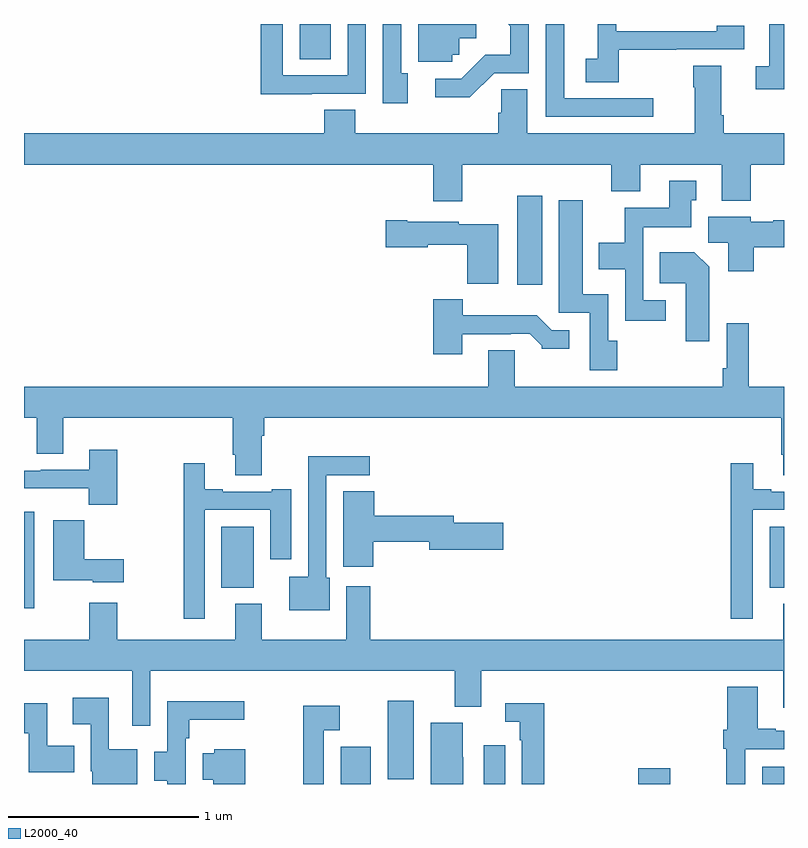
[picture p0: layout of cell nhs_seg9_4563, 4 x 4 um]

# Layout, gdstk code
import gdstk
lib = gdstk.Library(unit=1e-6, precision=1e-09)
def R(c, l, rs):  # rectangles x0, y0, x1, y1
    for r in rs: c.add(gdstk.rectangle(r[:2], r[2:], *l))
def P(c, l, *ps):  # polygons
    for p in ps: c.add(gdstk.Polygon(p, *l))
L2000_40 = (2000, 40)

nhs_seg9_4563 = lib.new_cell('nhs_seg9_4563')
R(nhs_seg9_4563, L2000_40, [(374.666,1186.5,374.824,1186.696), (375.42,1186.5,375.532,1186.705), (376.232,1186.5,376.402,1186.582), (376.886,1186.5,377,1186.591), (374.915,1186.524,375.052,1186.939), (373,1187.424,373.054,1187.932), (374.039,1187.534,374.209,1187.854), (376.925,1187.534,377,1187.854), (375.596,1189.128,375.727,1189.597), (374.45,1190.314,374.614,1190.5)])
P(nhs_seg9_4563, L2000_40, [(375.255,1190.337),(375.291,1190.337),(375.291,1190.426),(375.379,1190.426),(375.379,1190.5),(375.074,1190.5),(375.074,1190.301),(375.255,1190.301)],
  [(375.474,1190.241),(375.657,1190.241),(375.657,1190.5),(375.548,1190.5),(375.56,1190.488),(375.56,1190.338),(375.427,1190.338),(375.3,1190.211),(375.165,1190.211),(375.165,1190.114),(375.346,1190.114)],
  [(376.312,1190.109),(375.844,1190.109),(375.844,1190.5),(375.747,1190.5),(375.747,1190.013),(376.312,1190.013)],
  [(375.019,1190.242),(374.985,1190.242),(374.985,1190.5),(374.889,1190.5),(374.889,1190.082),(375.019,1190.082)],
  [(374.515,1190.133),(374.799,1190.133),(374.799,1190.5),(374.703,1190.5),(374.703,1190.229),(374.361,1190.229),(374.361,1190.5),(374.245,1190.5),(374.245,1190.129),(374.515,1190.129)],
  [(376.129,1190.365),(376.433,1190.365),(376.433,1190.367),(376.792,1190.367),(376.792,1190.491),(376.647,1190.491),(376.647,1190.463),(376.116,1190.463),(376.116,1190.5),(376.02,1190.5),(376.02,1190.316),(375.957,1190.316),(375.957,1190.194),(376.129,1190.194)],
  [(377,1190.5),(376.922,1190.5),(376.922,1190.277),(376.851,1190.277),(376.851,1190.157),(377,1190.157)],
  [(375.307,1189.76),(376.091,1189.76),(376.091,1189.619),(376.243,1189.619),(376.243,1189.76),(376.673,1189.76),(376.673,1189.571),(376.826,1189.571),(376.826,1189.76),(377,1189.76),(377,1189.924),(376.682,1189.924),(376.682,1190.02),(376.669,1190.02),(376.669,1190.281),(376.522,1190.281),(376.522,1190.168),(376.529,1190.168),(376.529,1189.924),(375.649,1189.924),(375.649,1190.156),(375.511,1190.156),(375.511,1190.034),(375.497,1190.034),(375.497,1189.924),(374.744,1189.924),(374.744,1190.048),(374.579,1190.048),(374.579,1189.924),(373,1189.924),(373,1189.76),(375.155,1189.76),(375.155,1189.566),(375.307,1189.566)],
  [(376.378,1189.047),(376.26,1189.047),(376.26,1189.43),(376.513,1189.43),(376.513,1189.572),(376.537,1189.572),(376.537,1189.675),(376.397,1189.675),(376.397,1189.534),(376.162,1189.534),(376.162,1189.348),(376.025,1189.348),(376.025,1189.208),(376.164,1189.208),(376.164,1188.939),(376.378,1188.939)],
  [(376.122,1188.834),(376.074,1188.834),(376.074,1189.078),(375.94,1189.078),(375.94,1189.573),(375.815,1189.573),(375.815,1188.981),(375.978,1188.981),(375.978,1188.678),(376.122,1188.678)],
  [(376.841,1189.325),(377,1189.325),(377,1189.467),(376.944,1189.467),(376.944,1189.459),(376.824,1189.459),(376.824,1189.486),(376.601,1189.486),(376.601,1189.348),(376.706,1189.348),(376.706,1189.2),(376.841,1189.2)],
  [(375.496,1189.447),(375.288,1189.447),(375.288,1189.459),(375.016,1189.459),(375.016,1189.467),(374.904,1189.467),(374.904,1189.325),(375.126,1189.325),(375.126,1189.337),(375.334,1189.337),(375.334,1189.133),(375.496,1189.133)],
  [(376.606,1189.222),(376.528,1189.3),(376.345,1189.3),(376.345,1189.136),(376.484,1189.136),(376.484,1188.831),(376.606,1188.831)],
  [(375.307,1188.867),(375.563,1188.867),(375.563,1188.87),(375.662,1188.87),(375.726,1188.806),(375.726,1188.791),(375.871,1188.791),(375.871,1188.888),(375.777,1188.888),(375.699,1188.967),(375.31,1188.967),(375.31,1189.051),(375.155,1189.051),(375.155,1188.762),(375.307,1188.762)],
  [(374.251,1188.332),(374.264,1188.332),(374.264,1188.428),(376.985,1188.428),(376.985,1188.232),(376.997,1188.232),(376.997,1188.124),(377,1188.124),(377,1188.592),(376.814,1188.592),(376.814,1188.925),(376.698,1188.925),(376.698,1188.688),(376.678,1188.688),(376.678,1188.592),(375.583,1188.592),(375.583,1188.782),(375.443,1188.782),(375.443,1188.592),(373,1188.592),(373,1188.428),(373.067,1188.428),(373.067,1188.238),(373.207,1188.238),(373.207,1188.428),(374.099,1188.428),(374.099,1188.232),(374.111,1188.232),(374.111,1188.124),(374.251,1188.124)],
  [(373.491,1188.259),(373.343,1188.259),(373.343,1188.153),(373.087,1188.153),(373.087,1188.15),(373,1188.15),(373,1188.056),(373.341,1188.056),(373.341,1187.969),(373.491,1187.969)],
  [(374.608,1187.586),(374.592,1187.586),(374.592,1188.126),(374.821,1188.126),(374.821,1188.224),(374.496,1188.224),(374.496,1187.59),(374.396,1187.59),(374.396,1187.414),(374.608,1187.414)],
  [(376.836,1187.943),(377,1187.943),(377,1188.039),(376.933,1188.039),(376.933,1188.052),(376.837,1188.052),(376.837,1188.187),(376.72,1188.187),(376.72,1187.37),(376.836,1187.37)],
  [(373.95,1187.943),(374.297,1187.943),(374.297,1187.682),(374.407,1187.682),(374.407,1188.052),(374.303,1188.052),(374.303,1188.039),(374.047,1188.039),(374.047,1188.052),(373.951,1188.052),(373.951,1188.187),(373.842,1188.187),(373.842,1187.37),(373.95,1187.37)],
  [(374.838,1187.776),(375.134,1187.776),(375.134,1187.734),(375.523,1187.734),(375.523,1187.876),(375.262,1187.876),(375.262,1187.912),(374.843,1187.912),(374.843,1188.041),(374.681,1188.041),(374.681,1187.643),(374.838,1187.643)],
  [(373.525,1187.683),(373.316,1187.683),(373.316,1187.887),(373.154,1187.887),(373.154,1187.573),(373.362,1187.573),(373.362,1187.561),(373.525,1187.561)],
  [(373.665,1187.096),(375.266,1187.096),(375.266,1186.907),(375.406,1186.907),(375.406,1187.096),(376.997,1187.096),(376.997,1186.902),(377,1186.902),(377,1187.449),(376.997,1187.449),(376.997,1187.26),(374.822,1187.26),(374.822,1187.542),(374.696,1187.542),(374.696,1187.26),(374.251,1187.26),(374.251,1187.449),(374.111,1187.449),(374.111,1187.26),(373.491,1187.26),(373.491,1187.455),(373.343,1187.455),(373.343,1187.26),(373,1187.26),(373,1187.096),(373.569,1187.096),(373.569,1186.806),(373.665,1186.806)],
  [(376.797,1186.683),(377,1186.683),(377,1186.779),(376.957,1186.779),(376.957,1186.792),(376.861,1186.792),(376.861,1187.011),(376.7,1187.011),(376.7,1186.786),(376.681,1186.786),(376.681,1186.686),(376.696,1186.686),(376.696,1186.5),(376.797,1186.5)],
  [(373.597,1186.684),(373.446,1186.684),(373.446,1186.954),(373.257,1186.954),(373.257,1186.814),(373.35,1186.814),(373.35,1186.566),(373.358,1186.566),(373.358,1186.5),(373.597,1186.5)],
  [(373.851,1186.742),(373.871,1186.742),(373.871,1186.838),(374.158,1186.838),(374.158,1186.936),(373.755,1186.936),(373.755,1186.671),(373.685,1186.671),(373.685,1186.516),(373.755,1186.516),(373.755,1186.5),(373.851,1186.5)],
  [(373.265,1186.702),(373.123,1186.702),(373.123,1186.924),(373,1186.924),(373,1186.766),(373.026,1186.766),(373.026,1186.562),(373.265,1186.562)],
  [(375.737,1186.924),(375.534,1186.924),(375.534,1186.827),(375.609,1186.827),(375.609,1186.73),(375.621,1186.73),(375.621,1186.5),(375.737,1186.5)],
  [(374.577,1186.784),(374.662,1186.784),(374.662,1186.912),(374.469,1186.912),(374.469,1186.5),(374.577,1186.5)],
  [(375.312,1186.641),(375.31,1186.641),(375.31,1186.822),(375.14,1186.822),(375.14,1186.5),(375.312,1186.5)],
  [(374.164,1186.684),(374.001,1186.684),(374.001,1186.663),(373.94,1186.663),(373.94,1186.523),(373.997,1186.523),(373.997,1186.5),(374.164,1186.5)])

lib.write_gds('nhs_seg9_4563.gds')
